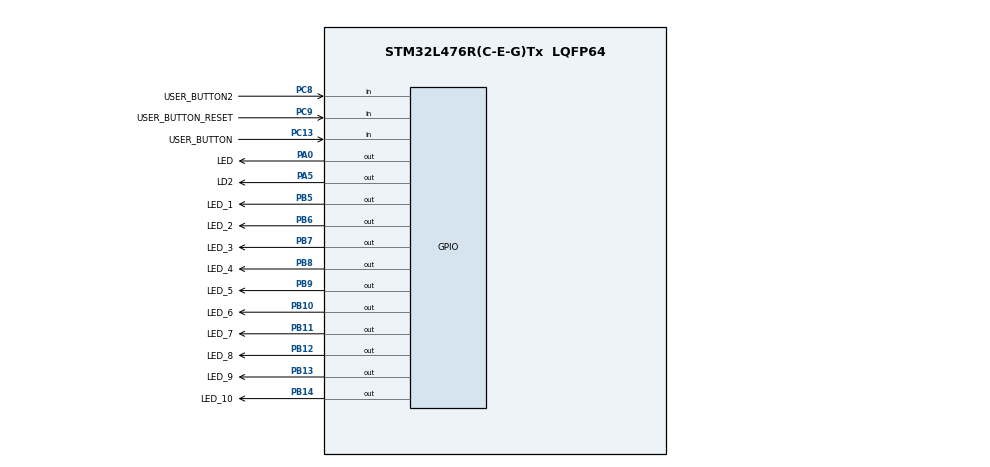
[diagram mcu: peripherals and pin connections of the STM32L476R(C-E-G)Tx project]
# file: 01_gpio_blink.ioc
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Mcu.Family=STM32L4
Mcu.Name=STM32L476R(C-E-G)Tx
Mcu.Package=LQFP64
NVIC.PriorityGroup=NVIC_PRIORITYGROUP_4
PA0.GPIO_Label=LED
PA0.Signal=GPIO_Output
PA5.GPIO_Label=LD2
PA5.Signal=GPIO_Output
PB10.GPIO_Label=LED_6
PB10.Signal=GPIO_Output
PB11.GPIO_Label=LED_7
PB11.Signal=GPIO_Output
PB12.GPIO_Label=LED_8
PB12.Signal=GPIO_Output
PB13.GPIO_Label=LED_9
PB13.Signal=GPIO_Output
PB14.GPIO_Label=LED_10
PB14.Signal=GPIO_Output
PB5.GPIO_Label=LED_1
PB5.Signal=GPIO_Output
PB6.GPIO_Label=LED_2
PB6.Signal=GPIO_Output
PB7.GPIO_Label=LED_3
PB7.Signal=GPIO_Output
PB8.GPIO_Label=LED_4
PB8.Signal=GPIO_Output
PB9.GPIO_Label=LED_5
PB9.Signal=GPIO_Output
PC13.GPIO_Label=USER_BUTTON
PC13.Signal=GPIO_Input
PC8.GPIO_Label=USER_BUTTON2
PC8.GPIO_PuPd=GPIO_PULLUP
PC8.Signal=GPIO_Input
PC9.GPIO_Label=USER_BUTTON_RESET
PC9.GPIO_PuPd=GPIO_PULLUP
PC9.Signal=GPIO_Input
ProjectManager.HeapSize=0x200
ProjectManager.StackSize=0x400
ProjectManager.TargetToolchain=STM32CubeIDE
RCC.HSE_VALUE=8000000
RCC.HSI_VALUE=16000000
RCC.LSE_VALUE=32768
RCC.MSI_VALUE=4000000
RCC.VCOOutputFreq_Value=32000000
board=custom

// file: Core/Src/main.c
/* USER CODE BEGIN Header */
/**
  ******************************************************************************
  * @file           : main.c
  * @brief          : Main program body
  ******************************************************************************
  * @attention
  *
  * Copyright (c) 2026 STMicroelectronics.
  * All rights reserved.
  *
  * This software is licensed under terms that can be found in the LICENSE file
  * in the root directory of this software component.
  * If no LICENSE file comes with this software, it is provided AS-IS.
  *
  ******************************************************************************
  */
/* USER CODE END Header */
#include "main.h"

void SystemClock_Config(void);
static void MX_GPIO_Init(void);

/* USER CODE BEGIN 0 */

 /* LED mapping for 10 LEDs connected to GPIOB */
GPIO_TypeDef* LED_PORT[10] = {
      GPIOB, GPIOB, GPIOB, GPIOB, GPIOB,
      GPIOB, GPIOB, GPIOB, GPIOB, GPIOB
    };

  uint16_t LED_PIN[10] = {
      LED_1_Pin, LED_2_Pin, LED_3_Pin, LED_4_Pin, LED_5_Pin,
      LED_6_Pin, LED_7_Pin, LED_8_Pin, LED_9_Pin, LED_10_Pin
    };

  /* Set LED state (ON/OFF) */
  void led_set(int led, bool turn_on){
	  GPIO_PinState state = (turn_on) ? GPIO_PIN_SET : GPIO_PIN_RESET;
	  if(led >= 0 && led < 10){
    	HAL_GPIO_WritePin(LED_PORT[led], LED_PIN[led], state);
    }
  }

  /* Read button state (active LOW) */
  bool is_button_pressed(int button){
		switch(button){

		case 0: // Onboard button (move forward)
			if(HAL_GPIO_ReadPin(USER_BUTTON_GPIO_Port, USER_BUTTON_Pin) == GPIO_PIN_RESET){
				return true;
			} else {
				return false;
			}

		case 1: // External button 1 (move backward)
			if(HAL_GPIO_ReadPin(USER_BUTTON2_GPIO_Port, USER_BUTTON2_Pin) == GPIO_PIN_RESET){
				return true;
			} else {
				return false;
			}

		case 2: // External button 2 (reset sequence)
			if(HAL_GPIO_ReadPin(USER_BUTTON_RESET_GPIO_Port, USER_BUTTON_RESET_Pin) == GPIO_PIN_RESET){
				return true;
			} else {
				return false;
			}

		default:
			return false;
		}
	}

/* USER CODE END 0 */

int main(void)
{

  /* MCU Configuration--------------------------------------------------------*/

  /* Reset of all peripherals, Initializes the Flash interface and the Systick. */
  HAL_Init();

  /* Configure the system clock */
  SystemClock_Config();

  /* Initialize all configured peripherals */
  MX_GPIO_Init();

  /* Infinite loop */
  /* USER CODE BEGIN WHILE */
  static int led = 0;
  while (1)
  {
	  // Toggle onboard LED (GPIOA pin 5) every 1 second
	  // HAL_GPIO_TogglePin(GPIOA, GPIO_PIN_5);
	  // HAL_Delay(1000);

	  /*
	   * Read onboard user button and control LD2 LED:
	   * - Button pressed  -> LED ON
	   * - Button released -> LED OFF
	   */
	  // if(HAL_GPIO_ReadPin(USER_BUTTON_GPIO_Port, USER_BUTTON_Pin) == GPIO_PIN_RESET){
	  //     HAL_GPIO_WritePin(LD2_GPIO_Port, LD2_Pin, GPIO_PIN_SET);
	  // } else {
	  //     HAL_GPIO_WritePin(LD2_GPIO_Port, LD2_Pin, GPIO_PIN_RESET);
	  // }

	  /*
	   * Simple test blink on GPIOA pin 0:
	   * ON for 500 ms, OFF for 500 ms
	   */
	  // HAL_GPIO_WritePin(GPIOA, GPIO_PIN_0, GPIO_PIN_SET);
	  // HAL_Delay(500);
	  //
	  // HAL_GPIO_WritePin(GPIOA, GPIO_PIN_0, GPIO_PIN_RESET);
	  // HAL_Delay(500);

	  /* Turn on current active LED */
	  led_set(led, true);

	  /* Button 0 (onboard): move LED forward */
	  if(is_button_pressed(0)){
		  HAL_Delay(1);
		  led_set(led, false);

		  led++;

		  if (led >= 10){
			  led = 0;
		  }

		  led_set(led, true);
		  HAL_Delay(200);

	  }

	  while(is_button_pressed(0)){

	  }

	  /* Button 1 (external): move LED backward */
	  if(is_button_pressed(1)){
		  led_set(led, false);

		  led--;

		  if(led < 0){
			  led = 9;
		  }

		  led_set(led, true);

		  HAL_Delay(20);

		  while(is_button_pressed(1)){

		  }
		  HAL_Delay(20);
	  }

	  /* Button 2 (external): reset sequence */
	  if(is_button_pressed(2)){
		  led_set(led, false);

		  led = 0;

		  led_set(led, true);

		  while(is_button_pressed(2)){

		  }
	  }
    /* USER CODE END WHILE */

  }
}

void SystemClock_Config(void)
{
  RCC_OscInitTypeDef RCC_OscInitStruct = {0};
  RCC_ClkInitTypeDef RCC_ClkInitStruct = {0};

  /** Configure the main internal regulator output voltage
  */
  if (HAL_PWREx_ControlVoltageScaling(PWR_REGULATOR_VOLTAGE_SCALE1) != HAL_OK)
  {
    Error_Handler();
  }

  /** Initializes the RCC Oscillators according to the specified parameters
  * in the RCC_OscInitTypeDef structure.
  */
  RCC_OscInitStruct.OscillatorType = RCC_OSCILLATORTYPE_MSI;
  RCC_OscInitStruct.MSIState = RCC_MSI_ON;
  RCC_OscInitStruct.MSICalibrationValue = 0;
  RCC_OscInitStruct.MSIClockRange = RCC_MSIRANGE_6;
  RCC_OscInitStruct.PLL.PLLState = RCC_PLL_NONE;
  if (HAL_RCC_OscConfig(&RCC_OscInitStruct) != HAL_OK)
  {
    Error_Handler();
  }

  /** Initializes the CPU, AHB and APB buses clocks
  */
  RCC_ClkInitStruct.ClockType = RCC_CLOCKTYPE_HCLK|RCC_CLOCKTYPE_SYSCLK
                              |RCC_CLOCKTYPE_PCLK1|RCC_CLOCKTYPE_PCLK2;
  RCC_ClkInitStruct.SYSCLKSource = RCC_SYSCLKSOURCE_MSI;
  RCC_ClkInitStruct.AHBCLKDivider = RCC_SYSCLK_DIV1;
  RCC_ClkInitStruct.APB1CLKDivider = RCC_HCLK_DIV1;
  RCC_ClkInitStruct.APB2CLKDivider = RCC_HCLK_DIV1;

  if (HAL_RCC_ClockConfig(&RCC_ClkInitStruct, FLASH_LATENCY_0) != HAL_OK)
  {
    Error_Handler();
  }
}

static void MX_GPIO_Init(void)
{
  GPIO_InitTypeDef GPIO_InitStruct = {0};

  /* GPIO Ports Clock Enable */
  __HAL_RCC_GPIOC_CLK_ENABLE();
  __HAL_RCC_GPIOA_CLK_ENABLE();
  __HAL_RCC_GPIOB_CLK_ENABLE();

  /*Configure GPIO pin Output Level */
  HAL_GPIO_WritePin(GPIOA, LED_Pin|LD2_Pin, GPIO_PIN_RESET);

  /*Configure GPIO pin Output Level */
  HAL_GPIO_WritePin(GPIOB, LED_6_Pin|LED_7_Pin|LED_8_Pin|LED_9_Pin
                          |LED_10_Pin|LED_1_Pin|LED_2_Pin|LED_3_Pin
                          |LED_4_Pin|LED_5_Pin, GPIO_PIN_RESET);

  /*Configure GPIO pin : USER_BUTTON_Pin */
  GPIO_InitStruct.Pin = USER_BUTTON_Pin;
  GPIO_InitStruct.Mode = GPIO_MODE_INPUT;
  GPIO_InitStruct.Pull = GPIO_NOPULL;
  HAL_GPIO_Init(USER_BUTTON_GPIO_Port, &GPIO_InitStruct);

  /*Configure GPIO pins : LED_Pin LD2_Pin */
  GPIO_InitStruct.Pin = LED_Pin|LD2_Pin;
  GPIO_InitStruct.Mode = GPIO_MODE_OUTPUT_PP;
  GPIO_InitStruct.Pull = GPIO_NOPULL;
  GPIO_InitStruct.Speed = GPIO_SPEED_FREQ_LOW;
  HAL_GPIO_Init(GPIOA, &GPIO_InitStruct);

  /*Configure GPIO pins : LED_6_Pin LED_7_Pin LED_8_Pin LED_9_Pin
                           LED_10_Pin LED_1_Pin LED_2_Pin LED_3_Pin
                           LED_4_Pin LED_5_Pin */
  GPIO_InitStruct.Pin = LED_6_Pin|LED_7_Pin|LED_8_Pin|LED_9_Pin
                          |LED_10_Pin|LED_1_Pin|LED_2_Pin|LED_3_Pin
                          |LED_4_Pin|LED_5_Pin;
  GPIO_InitStruct.Mode = GPIO_MODE_OUTPUT_PP;
  GPIO_InitStruct.Pull = GPIO_NOPULL;
  GPIO_InitStruct.Speed = GPIO_SPEED_FREQ_LOW;
  HAL_GPIO_Init(GPIOB, &GPIO_InitStruct);

  /*Configure GPIO pins : USER_BUTTON2_Pin USER_BUTTON_RESET_Pin */
  GPIO_InitStruct.Pin = USER_BUTTON2_Pin|USER_BUTTON_RESET_Pin;
  GPIO_InitStruct.Mode = GPIO_MODE_INPUT;
  GPIO_InitStruct.Pull = GPIO_PULLUP;
  HAL_GPIO_Init(GPIOC, &GPIO_InitStruct);

}

void Error_Handler(void)
{
  __disable_irq();
  while (1)
  {
  }
}
